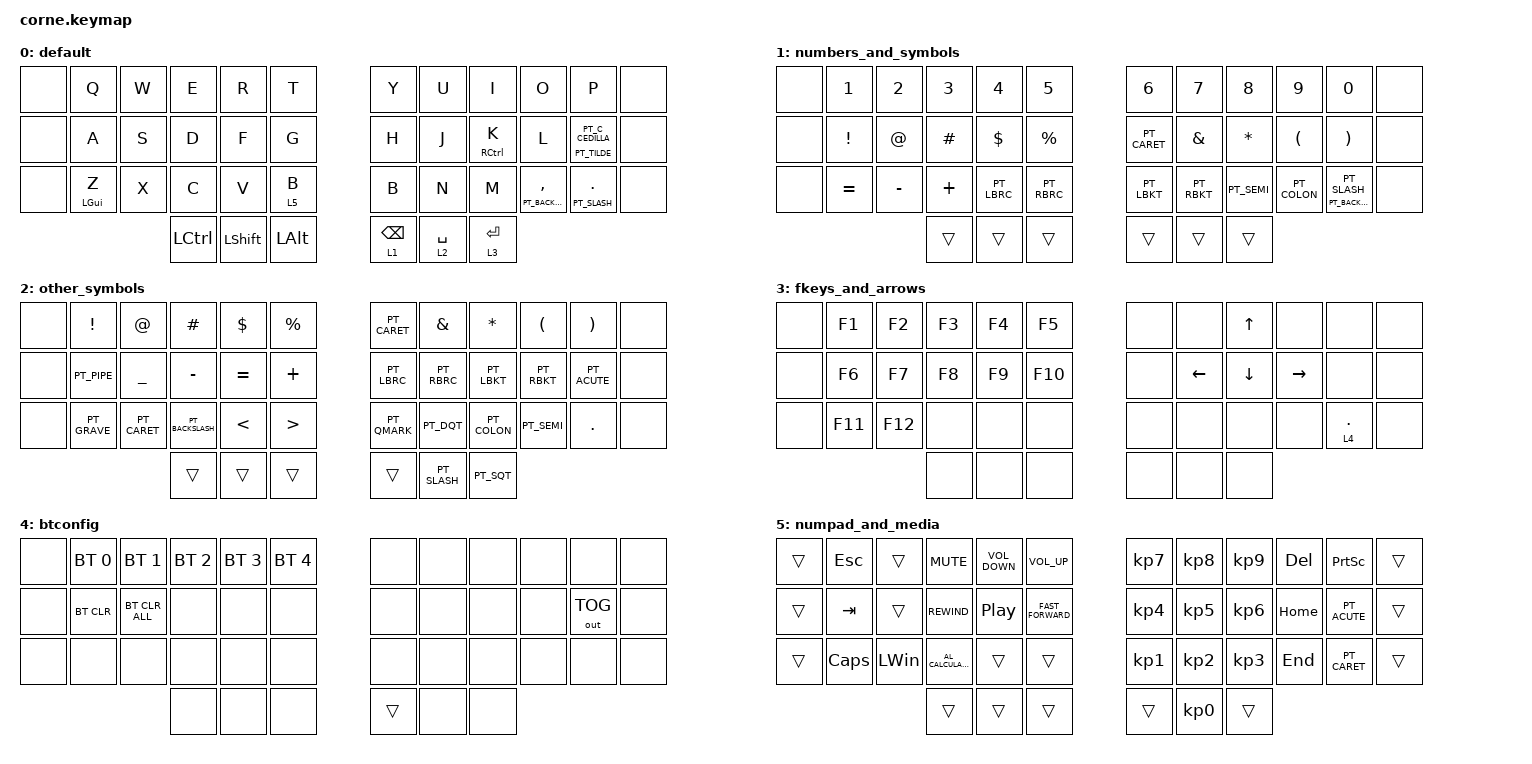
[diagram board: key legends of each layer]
/*
 * Copyright (c) 2020 The ZMK Contributors
 * SPDX-License-Identifier: MIT
 *
 * CORNE / SKELETYL — PT-BR ABNT2 KEYMAP
 *
 * Physical layout : 3×5+3 split, 42 keys
 * OS layout       : PT-BR ABNT2  (must be selected in OS settings)
 *
 * ┌──────────────────────────────────────────────────────────────┐
 * │  Layer map                                                   │
 * │    0  Base   QWERTY · home-row mods · ç on right pinky      │
 * │    1  Num    numbers · shifted symbols · { } [ ]            │
 * │    2  Sym    operators · PT-BR dead keys                     │
 * │    3  Fn     F1-F12 · arrows · bootloader                    │
 * │    4  BT     Bluetooth select · output toggle                │
 * ├──────────────────────────────────────────────────────────────┤
 * │  PT-BR dead keys  (Sym layer = hold BKSP)                    │
 * │    ]  position  →  ´ dead acute     á é í ó ú              │
 * │    `  position  →  ` dead grave     à                       │
 * │    ~  position  →  ^ dead circ      â ê ô                   │
 * │    Ç  hold      →  ~ dead tilde     ã õ   (base layer)      │
 * ├──────────────────────────────────────────────────────────────┤
 * │  Key grid (combo position reference)                         │
 * │   Row 0:  Q=1  W=2  E=3  R=4  T=5    Y=6  U=7  I=8  O=9  P=10  │
 * │   Row 1:  A=13 S=14 D=15 F=16 G=17   H=18 J=19 K=20 L=21 Ç=22  │
 * │   Row 2:  Z=25 X=26 C=27 V=28 B=29   B=30 N=31 M=32 ,=33 .=34  │
 * │   Thumb:  TAB=36 SPC=37 SFT=38        BSP=39 ENT=40 BSP=41      │
 * └──────────────────────────────────────────────────────────────┘
 */

#include <behaviors.dtsi>
#include <dt-bindings/zmk/bt.h>
#include <dt-bindings/zmk/keys.h>
#include <dt-bindings/zmk/outputs.h>
#include "keys_pt_abnt2.h"

/ {
    /* ─────────────────────────────────────────────────────────────
     * BEHAVIORS
     * ───────────────────────────────────────────────────────────── */

    behaviors {
        /* tap = character  ·  hold = modifier */

        hm: homerow_mods {
            compatible = "zmk,behavior-hold-tap";
            label = "HOMEROW_MODS";
            #binding-cells = <2>;
            tapping-term-ms = <200>;
            quick-tap-ms = <175>;
            flavor = "tap-preferred";
            bindings = <&kp>, <&kp>;
        };

        /* single tap = (  ·  double tap = ) */

        td_paren: tap_dance_paren {
            compatible = "zmk,behavior-tap-dance";
            label = "TAP_DANCE_PAREN";
            #binding-cells = <0>;
            tapping-term-ms = <200>;
            bindings = <&kp LPAR>, <&kp RPAR>;
        };

        /* single tap = [  ·  double tap = ] */

        td_bkt: tap_dance_bracket {
            compatible = "zmk,behavior-tap-dance";
            label = "TAP_DANCE_BRACKET";
            #binding-cells = <0>;
            tapping-term-ms = <200>;
            bindings = <&kp PT_LBKT>, <&kp PT_RBKT>;
        };

        /* single tap = {  ·  double tap = } */

        td_brc: tap_dance_brace {
            compatible = "zmk,behavior-tap-dance";
            label = "TAP_DANCE_BRACE";
            #binding-cells = <0>;
            tapping-term-ms = <200>;
            bindings = <&kp PT_LBRC>, <&kp PT_RBRC>;
        };
    };

    /* ─────────────────────────────────────────────────────────────
     * COMBOS
     *   Q+W  (1+2)   → Esc
     *   P+Ç  (10+22) → Delete
     *   Q+A  (12+13) → Caps Lock
     * ───────────────────────────────────────────────────────────── */

    combos { compatible = "zmk,combos"; };

    /* ─────────────────────────────────────────────────────────────
     * KEYMAP
     * ───────────────────────────────────────────────────────────── */

    keymap {
        compatible = "zmk,keymap";

        /* ══════════════════════════════════════════════════════════
         * LAYER 0 — BASE
         *
         *  Q    W    E    R    T  │  Y    U    I    O    P
         *  A    S    D    F    G  │  H    J  K/Ctl  L   Ç/~
         *  Z    X    C    V    B  │  B    N    M   ,/\  .//
         *  Z hold → GUI              Ç hold → ~ dead tilde (ã õ)
         *
         *       [4]  [1]  SFT  │  [2]  [3]  BSP
         *       TAB  SPC       │  BSP  ENT
         * ══════════════════════════════════════════════════════════ */

        default {
            bindings = <
&none  &kp Q           &kp W  &kp E      &kp R           &kp T           &kp Y            &kp U        &kp I                &kp O                   &kp P                      &none
&none  &kp A           &kp S  &kp D      &kp F           &kp G           &kp H            &kp J        &hm RIGHT_CONTROL K  &kp L                   &hm PT_TILDE PT_C_CEDILLA  &none
&none  &hm LEFT_GUI Z  &kp X  &kp C      &kp V           &lt 5 B         &kp B            &kp N        &kp M                &hm PT_BACKSLASH COMMA  &hm PT_SLASH PERIOD        &none
                              &kp LCTRL  &kp LEFT_SHIFT  &kp LEFT_ALT    &lt 1 BACKSPACE  &lt 2 SPACE  &lt 3 ENTER
            >;
        };

        /* ══════════════════════════════════════════════════════════
         * LAYER 1 — NUMBERS  (hold SPC)
         *
         *  1    2    3    4    5  │  6    7    8    9    0
         *  !    @    #    $    %  │  ^    &    *    (    )
         *  =    -    +    {    }  │  [    ]    ;    :   \/
         *       ___  ___  ___  │  ___  ___  ___
         *
         * All symbol keycodes use PT_* for correct ABNT2 output.
         * ══════════════════════════════════════════════════════════ */

        numbers_and_symbols {
            bindings = <
&none  &kp N1           &kp N2     &kp N3    &kp N4       &kp N5         &kp N6        &kp N7         &kp N8        &kp N9                &kp N0                     &none
&none  &kp EXCLAMATION  &kp AT     &kp HASH  &kp DOLLAR   &kp PERCENT    &kp PT_CARET  &kp AMPERSAND  &kp ASTERISK  &kp LEFT_PARENTHESIS  &kp RIGHT_PARENTHESIS      &none
&none  &kp EQUAL        &kp MINUS  &kp PLUS  &kp PT_LBRC  &kp PT_RBRC    &kp PT_LBKT   &kp PT_RBKT    &kp PT_SEMI   &kp PT_COLON          &hm PT_BACKSLASH PT_SLASH  &none
                                   &trans    &trans       &trans         &trans        &trans         &trans
            >;
        };

        /* ══════════════════════════════════════════════════════════
         * LAYER 2 — SYMBOLS  (hold BKSP)
         *
         *  !    @    #    $    %  │  ^    &    *    (    )
         *  |    _    -    =    +  │  {    }    [    ]    ´
         *  `    ^    \    <    >  │  ?    "    :    ;    .
         *                         │       /    '
         *
         * PT-BR dead keys:
         *   ´  dead acute  (row 1 last)  →  á é í ó ú
         *   `  dead grave  (row 2 first) →  à
         *   ^  dead circ   (row 2 + top) →  â ê ô
         *   ~  dead tilde  (base hold)   →  ã õ
         * ══════════════════════════════════════════════════════════ */

        other_symbols {
            bindings = <
&none  &kp EXCL      &kp AT        &kp HASH          &kp DLLR   &kp PRCNT    &kp PT_CARET  &kp AMPS      &kp ASTRK     &kp LPAR     &kp RPAR      &none
&none  &kp PT_PIPE   &kp UNDER     &kp MINUS         &kp EQUAL  &kp PLUS     &kp PT_LBRC   &kp PT_RBRC   &kp PT_LBKT   &kp PT_RBKT  &kp PT_ACUTE  &none
&none  &kp PT_GRAVE  &kp PT_CARET  &kp PT_BACKSLASH  &kp LT     &kp GT       &kp PT_QMARK  &kp PT_DQT    &kp PT_COLON  &kp PT_SEMI  &kp DOT       &none
                                   &trans            &trans     &trans       &trans        &kp PT_SLASH  &kp PT_SQT
            >;
        };

        /* ══════════════════════════════════════════════════════════
         * LAYER 3 — FUNCTION KEYS  (hold ENT)
         *
         *  F1   F2   F3   F4   F5  │  _    _    ↑    _    _
         *  F6   F7   F8   F9  F10  │  _    ←    ↓    →    _
         * F11  F12   _    _    _   │  _    _    _    _    _
         *             _    _    _  │  _    _   BOOT
         * ══════════════════════════════════════════════════════════ */

        fkeys_and_arrows {
            bindings = <
&none  &kp F1   &kp F2   &kp F3  &kp F4  &kp F5     &none  &none           &kp UP_ARROW    &none      &none      &none
&none  &kp F6   &kp F7   &kp F8  &kp F9  &kp F10    &none  &kp LEFT_ARROW  &kp DOWN_ARROW  &kp RIGHT  &none      &none
&none  &kp F11  &kp F12  &none   &none   &none      &none  &none           &none           &none      &lt 4 DOT  &none
                         &none   &none   &none      &none  &none           &none
            >;
        };

        /* ══════════════════════════════════════════════════════════
         * LAYER 4 — BLUETOOTH  (hold TAB)
         *
         * BT0  BT1  BT2  BT3  BT4  │  _    _    _    _    _
         * CLR  ALL   _    _    _   │  _    _    _    _   OUT
         *  _    _    _    _    _   │  _    _    _    _    _
         *             ×    ×    ×  │  _    ×    ×
         * ══════════════════════════════════════════════════════════ */

        btconfig {
            bindings = <
&none  &bt BT_SEL 0  &bt BT_SEL 1    &bt BT_SEL 2  &bt BT_SEL 3  &bt BT_SEL 4    &none   &none  &none  &none  &none         &none
&none  &bt BT_CLR    &bt BT_CLR_ALL  &none         &none         &none           &none   &none  &none  &none  &out OUT_TOG  &none
&none  &none         &none           &none         &none         &none           &none   &none  &none  &none  &none         &none
                                     &none         &none         &none           &trans  &none  &none
            >;
        };

        numpad_and_media {
            bindings = <
&trans  &kp ESC       &trans        &kp C_MUTE           &kp C_VOLUME_DOWN  &kp C_VOLUME_UP       &kp KP_NUMBER_7  &kp KP_NUMBER_8  &kp KP_NUMBER_9  &kp DEL   &kp PRINTSCREEN  &trans
&trans  &kp TAB       &trans        &kp C_REWIND         &kp C_PLAY_PAUSE   &kp C_FAST_FORWARD    &kp KP_NUMBER_4  &kp KP_NUMBER_5  &kp KP_NUMBER_6  &kp HOME  &kp PT_ACUTE     &trans
&trans  &kp CAPSLOCK  &kp LEFT_WIN  &kp C_AL_CALCULATOR  &trans             &trans                &kp KP_NUMBER_1  &kp KP_NUMBER_2  &kp KP_NUMBER_3  &kp END   &kp PT_CARET     &trans
                                    &trans               &trans             &trans                &trans           &kp KP_NUMBER_0  &trans
            >;
        };
    };
};
